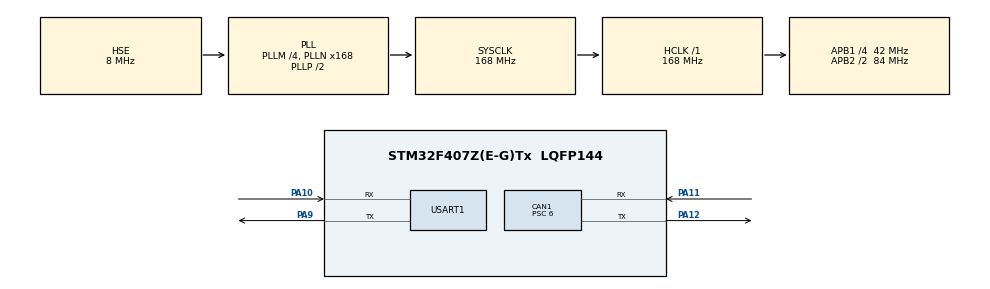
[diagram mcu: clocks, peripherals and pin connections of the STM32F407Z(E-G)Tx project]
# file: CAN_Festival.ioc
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CAN1.BS1=CAN_BS1_7TQ
CAN1.BS2=CAN_BS2_6TQ
CAN1.CalculateBaudRate=500000
CAN1.CalculateTimeBit=1999.99
CAN1.CalculateTimeQuantum=142.85714285714286
CAN1.NART=ENABLE
CAN1.Prescaler=6
CAN1.SJW=CAN_SJW_1TQ
Dma.Request0=USART1_TX
Dma.USART1_TX.0.Direction=DMA_MEMORY_TO_PERIPH
Dma.USART1_TX.0.FIFOMode=DMA_FIFOMODE_DISABLE
Dma.USART1_TX.0.Instance=DMA2_Stream7
Dma.USART1_TX.0.MemDataAlignment=DMA_MDATAALIGN_BYTE
Dma.USART1_TX.0.MemInc=DMA_MINC_ENABLE
Dma.USART1_TX.0.Mode=DMA_NORMAL
Dma.USART1_TX.0.PeriphDataAlignment=DMA_PDATAALIGN_BYTE
Dma.USART1_TX.0.PeriphInc=DMA_PINC_DISABLE
Dma.USART1_TX.0.Priority=DMA_PRIORITY_LOW
FREERTOS.CountingSemaphores01=CANMailSem,3,Dynamic,NULL
FREERTOS.Events01=CANEventGroup,Dynamic,NULL
FREERTOS.INCLUDE_xEventGroupSetBitFromISR=1
FREERTOS.INCLUDE_xTaskGetCurrentTaskHandle=1
FREERTOS.Queues01=CANSendQueue,5,Message,0,Dynamic,NULL,NULL;CANRecvQueue,5,Message,0,Dynamic,NULL,NULL
FREERTOS.Tasks01=CANTimerTask,24,128,StartMainTask,Default,NULL,Dynamic,NULL,NULL;CANSendTask,24,128,CANSendTaskEntry,Default,NULL,Dynamic,NULL,NULL;CANRecvTask,48,256,CANRecvEntry,Default,NULL,Dynamic,NULL,NULL
FREERTOS.configMINIMAL_STACK_SIZE=64
FREERTOS.configTOTAL_HEAP_SIZE=40960
FREERTOS.configUSE_POSIX_ERRNO=0
Mcu.Family=STM32F4
Mcu.Name=STM32F407Z(E-G)Tx
Mcu.Package=LQFP144
NVIC.CAN1_RX0_IRQn=true\:5\:0\:false\:false\:true\:true\:true\:true
NVIC.CAN1_TX_IRQn=true\:5\:0\:false\:false\:true\:true\:true\:true
NVIC.DMA2_Stream7_IRQn=true\:5\:0\:false\:false\:true\:true\:false\:true
NVIC.PriorityGroup=NVIC_PRIORITYGROUP_4
NVIC.TIM1_UP_TIM10_IRQn=true\:0\:0\:false\:false\:true\:false\:false\:true
NVIC.TIM7_IRQn=true\:5\:0\:false\:false\:true\:true\:true\:true
NVIC.TimeBase=TIM1_UP_TIM10_IRQn
NVIC.TimeBaseIP=TIM1
NVIC.USART1_IRQn=true\:5\:0\:false\:false\:true\:true\:true\:true
PA10.Mode=Asynchronous
PA10.Signal=USART1_RX
PA11.Mode=CAN_Activate
PA11.Signal=CAN1_RX
PA12.Mode=CAN_Activate
PA12.Signal=CAN1_TX
PA13.Mode=Serial_Wire
PA13.Signal=SYS_JTMS-SWDIO
PA14.Mode=Serial_Wire
PA14.Signal=SYS_JTCK-SWCLK
PA9.Mode=Asynchronous
PA9.Signal=USART1_TX
PH0-OSC_IN.Mode=HSE-External-Oscillator
PH0-OSC_IN.Signal=RCC_OSC_IN
PH1-OSC_OUT.Mode=HSE-External-Oscillator
PH1-OSC_OUT.Signal=RCC_OSC_OUT
ProjectManager.HeapSize=0x200
ProjectManager.StackSize=0x400
ProjectManager.TargetToolchain=MDK-ARM V5.27
RCC.48MHZClocksFreq_Value=84000000
RCC.AHBFreq_Value=168000000
RCC.APB1CLKDivider=RCC_HCLK_DIV4
RCC.APB1Freq_Value=42000000
RCC.APB1TimFreq_Value=84000000
RCC.APB2CLKDivider=RCC_HCLK_DIV2
RCC.APB2Freq_Value=84000000
RCC.APB2TimFreq_Value=168000000
RCC.CortexFreq_Value=168000000
RCC.HCLKFreq_Value=168000000
RCC.HSE_VALUE=8000000
RCC.HSI_VALUE=16000000
RCC.LSE_VALUE=32768
RCC.PLLM=4
RCC.PLLN=168
RCC.PLLSourceVirtual=RCC_PLLSOURCE_HSE
RCC.SYSCLKFreq_VALUE=168000000
RCC.SYSCLKSource=RCC_SYSCLKSOURCE_PLLCLK
RCC.VCOOutputFreq_Value=336000000
TIM7.AutoReloadPreload=TIM_AUTORELOAD_PRELOAD_DISABLE
TIM7.Period=65535
TIM7.Prescaler=839
USART1.VirtualMode=VM_ASYNC
VP_FREERTOS_VS_CMSIS_V2.Mode=CMSIS_V2
VP_SYS_VS_tim1.Mode=TIM1
VP_TIM7_VS_ClockSourceINT.Mode=Enable_Timer
board=custom

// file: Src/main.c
/* USER CODE BEGIN Header */
/**
  ******************************************************************************
  * @file           : main.c
  * @brief          : Main program body
  ******************************************************************************
  * @attention
  *
  * <h2><center>&copy; Copyright (c) 2020 STMicroelectronics.
  * All rights reserved.</center></h2>
  *
  * This software component is licensed by ST under Ultimate Liberty license
  * SLA0044, the "License"; You may not use this file except in compliance with
  * the License. You may obtain a copy of the License at:
  *                             www.st.com/SLA0044
  *
  ******************************************************************************
  */
/* USER CODE END Header */
#include "main.h"
#include "cmsis_os.h"
#include "can.h"
#include "dma.h"
#include "tim.h"
#include "usart.h"
#include "gpio.h"

/* USER CODE BEGIN Includes */
#include "canfestival.h"
/* USER CODE END Includes */

/* USER CODE BEGIN PV */
extern osEventFlagsId_t CANEventGroupHandle;
/* USER CODE END PV */

void SystemClock_Config(void);
void MX_FREERTOS_Init(void);

int main(void)
{

  /* MCU Configuration--------------------------------------------------------*/

  /* Reset of all peripherals, Initializes the Flash interface and the Systick. */
  HAL_Init();

  /* Configure the system clock */
  SystemClock_Config();

  /* Initialize all configured peripherals */
  MX_GPIO_Init();
  MX_DMA_Init();
  MX_CAN1_Init();
  MX_TIM7_Init();
  MX_USART1_UART_Init();

  /* Init scheduler */
  osKernelInitialize();  /* Call init function for freertos objects (in freertos.c) */
  MX_FREERTOS_Init();
  /* Start scheduler */
  osKernelStart();

  /* We should never get here as control is now taken by the scheduler */
  /* Infinite loop */
  while (1)
  {

  }
}

void SystemClock_Config(void)
{
  RCC_OscInitTypeDef RCC_OscInitStruct = {0};
  RCC_ClkInitTypeDef RCC_ClkInitStruct = {0};

  /** Configure the main internal regulator output voltage
  */
  __HAL_RCC_PWR_CLK_ENABLE();
  __HAL_PWR_VOLTAGESCALING_CONFIG(PWR_REGULATOR_VOLTAGE_SCALE1);
  /** Initializes the RCC Oscillators according to the specified parameters
  * in the RCC_OscInitTypeDef structure.
  */
  RCC_OscInitStruct.OscillatorType = RCC_OSCILLATORTYPE_HSE;
  RCC_OscInitStruct.HSEState = RCC_HSE_ON;
  RCC_OscInitStruct.PLL.PLLState = RCC_PLL_ON;
  RCC_OscInitStruct.PLL.PLLSource = RCC_PLLSOURCE_HSE;
  RCC_OscInitStruct.PLL.PLLM = 4;
  RCC_OscInitStruct.PLL.PLLN = 168;
  RCC_OscInitStruct.PLL.PLLP = RCC_PLLP_DIV2;
  RCC_OscInitStruct.PLL.PLLQ = 4;
  if (HAL_RCC_OscConfig(&RCC_OscInitStruct) != HAL_OK)
  {
    Error_Handler();
  }
  /** Initializes the CPU, AHB and APB buses clocks
  */
  RCC_ClkInitStruct.ClockType = RCC_CLOCKTYPE_HCLK|RCC_CLOCKTYPE_SYSCLK
                              |RCC_CLOCKTYPE_PCLK1|RCC_CLOCKTYPE_PCLK2;
  RCC_ClkInitStruct.SYSCLKSource = RCC_SYSCLKSOURCE_PLLCLK;
  RCC_ClkInitStruct.AHBCLKDivider = RCC_SYSCLK_DIV1;
  RCC_ClkInitStruct.APB1CLKDivider = RCC_HCLK_DIV4;
  RCC_ClkInitStruct.APB2CLKDivider = RCC_HCLK_DIV2;

  if (HAL_RCC_ClockConfig(&RCC_ClkInitStruct, FLASH_LATENCY_5) != HAL_OK)
  {
    Error_Handler();
  }
}

 /**
  * @brief  Period elapsed callback in non blocking mode
  * @note   This function is called  when TIM1 interrupt took place, inside
  * HAL_TIM_IRQHandler(). It makes a direct call to HAL_IncTick() to increment
  * a global variable "uwTick" used as application time base.
  * @param  htim : TIM handle
  * @retval None
  */
void HAL_TIM_PeriodElapsedCallback(TIM_HandleTypeDef *htim)
{
  if (htim->Instance == TIM1) {
    HAL_IncTick();
  }
  /* USER CODE BEGIN Callback 1 */
	else if(htim->Instance == TIM7){
		osEventFlagsSet(CANEventGroupHandle,CANOPEN_TIMER_EVENT_BIT);
	}
  /* USER CODE END Callback 1 */
}

void Error_Handler(void)
{
}

/************************ (C) COPYRIGHT STMicroelectronics *****END OF FILE****/

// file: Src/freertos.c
/* USER CODE BEGIN Header */
/**
  ******************************************************************************
  * File Name          : freertos.c
  * Description        : Code for freertos applications
  ******************************************************************************
  * @attention
  *
  * <h2><center>&copy; Copyright (c) 2020 STMicroelectronics.
  * All rights reserved.</center></h2>
  *
  * This software component is licensed by ST under Ultimate Liberty license
  * SLA0044, the "License"; You may not use this file except in compliance with
  * the License. You may obtain a copy of the License at:
  *                             www.st.com/SLA0044
  *
  ******************************************************************************
  */
/* USER CODE END Header */

#include "FreeRTOS.h"
#include "task.h"
#include "main.h"
#include "cmsis_os.h"

/* USER CODE BEGIN Includes */
#include <stdio.h>
#include "canfestival.h"
#include "TestSlave.h"
#include "can.h"
#include "tim.h"
#include "usart.h"
#include "app_info.h"
/* USER CODE END Includes */

/* Definitions for CANTimerTask */
osThreadId_t CANTimerTaskHandle;
const osThreadAttr_t CANTimerTask_attributes = {
  .name = "CANTimerTask",
  .priority = (osPriority_t) osPriorityNormal,
  .stack_size = 128 * 4
};
/* Definitions for CANSendTask */
osThreadId_t CANSendTaskHandle;
const osThreadAttr_t CANSendTask_attributes = {
  .name = "CANSendTask",
  .priority = (osPriority_t) osPriorityNormal,
  .stack_size = 128 * 4
};
/* Definitions for CANRecvTask */
osThreadId_t CANRecvTaskHandle;
const osThreadAttr_t CANRecvTask_attributes = {
  .name = "CANRecvTask",
  .priority = (osPriority_t) osPriorityRealtime,
  .stack_size = 256 * 4
};
/* Definitions for CANSendQueue */
osMessageQueueId_t CANSendQueueHandle;
const osMessageQueueAttr_t CANSendQueue_attributes = {
  .name = "CANSendQueue"
};
/* Definitions for CANRecvQueue */
osMessageQueueId_t CANRecvQueueHandle;
const osMessageQueueAttr_t CANRecvQueue_attributes = {
  .name = "CANRecvQueue"
};
/* Definitions for CANMailSem */
osSemaphoreId_t CANMailSemHandle;
const osSemaphoreAttr_t CANMailSem_attributes = {
  .name = "CANMailSem"
};
/* Definitions for CANEventGroup */
osEventFlagsId_t CANEventGroupHandle;
const osEventFlagsAttr_t CANEventGroup_attributes = {
  .name = "CANEventGroup"
};

/* USER CODE BEGIN FunctionPrototypes */
UNS32 OD1F50Callback(CO_Data* d, const indextable * bIndex, UNS8 bSubindex);
UNS32 OD1F51Callback(CO_Data* d, const indextable * bIndex, UNS8 bSubindex);
void canFestivalInit(void);
/* USER CODE END FunctionPrototypes */

void StartMainTask(void *argument);
void CANSendTaskEntry(void *argument);
void CANRecvEntry(void *argument);

void MX_FREERTOS_Init(void); /* (MISRA C 2004 rule 8.1) */

void MX_FREERTOS_Init(void) {

  /* Create the semaphores(s) */
  /* creation of CANMailSem */
  CANMailSemHandle = osSemaphoreNew(3, 3, &CANMailSem_attributes);

  /* Create the queue(s) */
  /* creation of CANSendQueue */
  CANSendQueueHandle = osMessageQueueNew (5, sizeof(Message), &CANSendQueue_attributes);

  /* creation of CANRecvQueue */
  CANRecvQueueHandle = osMessageQueueNew (5, sizeof(Message), &CANRecvQueue_attributes);

  /* Create the thread(s) */
  /* creation of CANTimerTask */
  CANTimerTaskHandle = osThreadNew(StartMainTask, NULL, &CANTimerTask_attributes);

  /* creation of CANSendTask */
  CANSendTaskHandle = osThreadNew(CANSendTaskEntry, NULL, &CANSendTask_attributes);

  /* creation of CANRecvTask */
  CANRecvTaskHandle = osThreadNew(CANRecvEntry, NULL, &CANRecvTask_attributes);

  /* Create the event(s) */
  /* creation of CANEventGroup */
  CANEventGroupHandle = osEventFlagsNew(&CANEventGroup_attributes);

}

void StartMainTask(void *argument)
{
  /* USER CODE BEGIN StartMainTask */
	canFestivalInit();

	RegisterSetODentryCallBack(&TestSlave_Data,0x1F50,0x01,OD1F50Callback);
	RegisterSetODentryCallBack(&TestSlave_Data,0x1F51,0x01,OD1F51Callback);

	/* Defining the node Id */
	setNodeId(&TestSlave_Data, 0x01);

	/* init */
	setState(&TestSlave_Data, Initialisation);

  /* Infinite loop */
  for(;;)
  {
    osEventFlagsWait(CANEventGroupHandle, CANOPEN_TIMER_EVENT_BIT, osFlagsWaitAny, osWaitForever);
		canTimerCallback();
  }
  /* USER CODE END StartMainTask */
}

void CANSendTaskEntry(void *argument)
{
  /* USER CODE BEGIN CANSendTaskEntry */
	Message msg;
	uint32_t TxMailbox;
	CAN_TxHeaderTypeDef tx_msg;

  /* Infinite loop */
  for(;;)
  {
		osMessageQueueGet(CANSendQueueHandle,&msg,NULL,osWaitForever);

		tx_msg.StdId = msg.cob_id;
		(msg.rtr) ? (tx_msg.RTR = CAN_RTR_REMOTE) : (tx_msg.RTR = CAN_RTR_DATA);
		tx_msg.IDE = CAN_ID_STD;
		tx_msg.DLC = msg.len;
		tx_msg.TransmitGlobalTime = DISABLE;

		osSemaphoreAcquire(CANMailSemHandle, osWaitForever);
		HAL_CAN_AddTxMessage(&hcan1, &tx_msg, msg.data, &TxMailbox);

    /* test */
		if((tx_msg.StdId & 0x700) == 0x700)
		{
			printf("Heartbeat\n");
		}
  }
  /* USER CODE END CANSendTaskEntry */
}

void CANRecvEntry(void *argument)
{
  /* USER CODE BEGIN CANRecvEntry */
	Message msg;
  /* Infinite loop */
  for(;;)
  {
    osMessageQueueGet(CANRecvQueueHandle, &msg, NULL, osWaitForever);
		canDispatch(&TestSlave_Data, &msg);
  }
  /* USER CODE END CANRecvEntry */
}

/* USER CODE BEGIN Application */
UNS32 OD1F50Callback(CO_Data* d, const indextable * bIndex, UNS8 bSubindex)
{
	HAL_UART_Transmit(&huart1,(uint8_t *)&bSubindex,1,100);
	if(1 == bSubindex)
	{

	}
	return 0;
}

UNS32 OD1F51Callback(CO_Data* d, const indextable * bIndex, UNS8 bSubindex)
{
	uint32_t cmd = *(uint8_t *)bIndex->pSubindex[bSubindex].pObject;

	HAL_UART_Transmit(&huart1,(uint8_t *)"",1,100);
	if(1 == bSubindex)
	{
		switch(cmd)
		{
			case CMD_STOP:
				break;
			case CMD_START:

				break;
			case CMD_RESET:
				HAL_NVIC_SystemReset();
				break;
			case CMD_CLEAR:
				APP_Erase(APP_1);
				break;
			case CMD_START_BOOTLOADER:
				break;
			case CMD_SET_SIGNATURE:
				break;
			case CMD_CLEAR_SIGNATURE:
				break;
		}
	}
	return 0;
}
/* USER CODE END Application */

/************************ (C) COPYRIGHT STMicroelectronics *****END OF FILE****/
